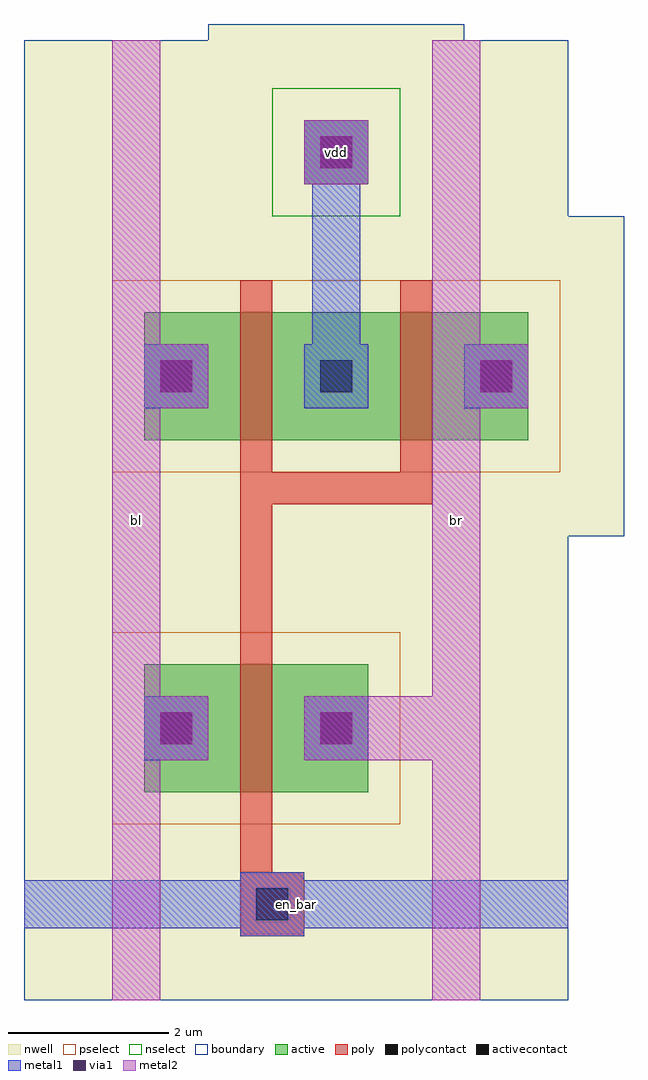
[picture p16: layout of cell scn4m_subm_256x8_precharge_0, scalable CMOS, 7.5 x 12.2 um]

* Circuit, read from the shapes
.subckt scn4m_subm_256x8_precharge_0 bl br en_bar vdd
M1 br en_bar bl vdd pfet w=1.6u l=0.4u
M2 vdd en_bar bl vdd pfet w=1.6u l=0.4u
M3 br en_bar vdd vdd pfet w=1.6u l=0.4u
.ends

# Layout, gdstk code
import gdstk
lib = gdstk.Library(unit=1e-6, precision=1e-09)
def R(c, l, rs):  # rectangles x0, y0, x1, y1
    for r in rs: c.add(gdstk.rectangle(r[:2], r[2:], *l))
nwell = (42, 0)
active = (43, 0)
pselect = (44, 0)
nselect = (45, 0)
poly = (46, 0)
polycontact = (47, 0)
activecontact = (48, 0)
metal1 = (49, 0)
via1 = (50, 0)
metal2 = (51, 0)
boundary = (63, 0)

scn4m_subm_256x8_contact = lib.new_cell('scn4m_subm_256x8_contact_12')
R(scn4m_subm_256x8_contact, nwell, [(-1.2,-1.2,2,2)])
R(scn4m_subm_256x8_contact, active, [(0,0,0.8,0.8)])
R(scn4m_subm_256x8_contact, pselect, [(-0.4,-0.4,1.2,1.2)])
R(scn4m_subm_256x8_contact, activecontact, [(0.2,0.2,0.6,0.6)])
R(scn4m_subm_256x8_contact, metal1, [(0,0,0.8,0.8)])
R(scn4m_subm_256x8_contact, boundary, [(-1.2,-1.2,2,2)])

scn4m_subm_256x8_pmos_m1 = lib.new_cell('scn4m_subm_256x8_pmos_m1_w1_600_sm1_dm1')
R(scn4m_subm_256x8_pmos_m1, nwell, [(-1.2,-1.2,4,2.8)])
R(scn4m_subm_256x8_pmos_m1, active, [(0,0,2.8,1.6)])
R(scn4m_subm_256x8_pmos_m1, pselect, [(-0.4,-0.4,3.2,2)])
R(scn4m_subm_256x8_pmos_m1, poly, [(1.2,-0.4,1.6,2), (1.2,-0.4,1.6,2)])
R(scn4m_subm_256x8_pmos_m1, metal1, [(0,0.4,0.8,1.2), (2,0.4,2.8,1.2)])
R(scn4m_subm_256x8_pmos_m1, boundary, [(-1.2,-1.2,4,2.8)])
scn4m_subm_256x8_pmos_m1.add(gdstk.Reference(scn4m_subm_256x8_contact, (0,0.4)))
scn4m_subm_256x8_pmos_m1.add(gdstk.Reference(scn4m_subm_256x8_contact, (2,0.4)))
scn4m_subm_256x8_pmos_m1.add(gdstk.Label('G', (1.4,0.8), layer=46, texttype=0))
scn4m_subm_256x8_pmos_m1.add(gdstk.Label('S', (0.4,0.8), layer=49, texttype=0))
scn4m_subm_256x8_pmos_m1.add(gdstk.Label('D', (2.4,0.8), layer=49, texttype=0))

c_scn4m_subm_256x8_contact = lib.new_cell('scn4m_subm_256x8_contact_15')
R(c_scn4m_subm_256x8_contact, poly, [(0,0,0.8,0.8)])
R(c_scn4m_subm_256x8_contact, polycontact, [(0.2,0.2,0.6,0.6)])
R(c_scn4m_subm_256x8_contact, metal1, [(0,0,0.8,0.8)])
R(c_scn4m_subm_256x8_contact, boundary, [(0,0,0.8,0.8)])

c_scn4m_subm_256x8_contact_ = lib.new_cell('scn4m_subm_256x8_contact_23')
R(c_scn4m_subm_256x8_contact_, nwell, [(-1.2,-1.2,2,2)])
R(c_scn4m_subm_256x8_contact_, active, [(0,0,0.8,0.8)])
R(c_scn4m_subm_256x8_contact_, nselect, [(-0.4,-0.4,1.2,1.2)])
R(c_scn4m_subm_256x8_contact_, activecontact, [(0.2,0.2,0.6,0.6)])
R(c_scn4m_subm_256x8_contact_, metal1, [(0,0,0.8,0.8)])
R(c_scn4m_subm_256x8_contact_, boundary, [(-1.2,-1.2,2,2)])

c_scn4m_subm_256x8_contact__ = lib.new_cell('scn4m_subm_256x8_contact_18')
R(c_scn4m_subm_256x8_contact__, metal1, [(0,0,0.8,0.8)])
R(c_scn4m_subm_256x8_contact__, via1, [(0.2,0.2,0.6,0.6)])
R(c_scn4m_subm_256x8_contact__, metal2, [(0,0,0.8,0.8)])
R(c_scn4m_subm_256x8_contact__, boundary, [(0,0,0.8,0.8)])

c_scn4m_subm_256x8_contact___ = lib.new_cell('scn4m_subm_256x8_contact_24')
R(c_scn4m_subm_256x8_contact___, metal1, [(0,0,0.8,0.8)])
R(c_scn4m_subm_256x8_contact___, via1, [(0.2,0.2,0.6,0.6)])
R(c_scn4m_subm_256x8_contact___, metal2, [(0,0,0.8,0.8)])
R(c_scn4m_subm_256x8_contact___, boundary, [(0,0,0.8,0.8)])

scn4m_subm_256x8_prechar = lib.new_cell('scn4m_subm_256x8_precharge_0')
R(scn4m_subm_256x8_prechar, nwell, [(0,0,6.8,12)])
R(scn4m_subm_256x8_prechar, poly, [(2.7,1,3.1,1.4), (2.9,1,3.1,1.4), (2.7,1.2,3.1,2.2), (2.7,4.6,3.1,6.6), (2.7,6.2,5.1,6.6)])
R(scn4m_subm_256x8_prechar, metal1, [(0,0.9,6.8,1.5), (3.6,7.8,4.2,10.6), (3.6,10.3,4.2,10.9)])
R(scn4m_subm_256x8_prechar, metal2, [(1.1,0,1.7,12), (1.1,0,1.7,12), (5.1,0,5.7,12), (5.1,0,5.7,12), (1.4,3,1.9,3.8), (3.9,3,5.4,3.8), (1.4,7.4,1.9,8.2), (5.4,7.4,5.9,8.2)])
R(scn4m_subm_256x8_prechar, boundary, [(0,0,6.8,12)])
scn4m_subm_256x8_prechar.add(gdstk.Reference(scn4m_subm_256x8_pmos_m1, (1.5,2.6)))
scn4m_subm_256x8_prechar.add(gdstk.Reference(scn4m_subm_256x8_pmos_m1, (1.5,7)))
scn4m_subm_256x8_prechar.add(gdstk.Reference(scn4m_subm_256x8_pmos_m1, (3.5,7)))
scn4m_subm_256x8_prechar.add(gdstk.Reference(c_scn4m_subm_256x8_contact, (2.7,0.8)))
scn4m_subm_256x8_prechar.add(gdstk.Reference(c_scn4m_subm_256x8_contact_, (3.5,10.2)))
scn4m_subm_256x8_prechar.add(gdstk.Reference(c_scn4m_subm_256x8_contact__, (3.5,10.2)))
scn4m_subm_256x8_prechar.add(gdstk.Reference(c_scn4m_subm_256x8_contact___, (1.5,3)))
scn4m_subm_256x8_prechar.add(gdstk.Reference(c_scn4m_subm_256x8_contact___, (3.5,3)))
scn4m_subm_256x8_prechar.add(gdstk.Reference(c_scn4m_subm_256x8_contact___, (1.5,7.4)))
scn4m_subm_256x8_prechar.add(gdstk.Reference(c_scn4m_subm_256x8_contact___, (5.5,7.4)))
scn4m_subm_256x8_prechar.add(gdstk.Label('en_bar', (3.4,1.2), layer=49, texttype=0))
scn4m_subm_256x8_prechar.add(gdstk.Label('vdd', (3.9,10.6), layer=49, texttype=0))
scn4m_subm_256x8_prechar.add(gdstk.Label('bl', (1.4,6), layer=51, texttype=0))
scn4m_subm_256x8_prechar.add(gdstk.Label('br', (5.4,6), layer=51, texttype=0))

lib.write_gds('scn4m_subm_256x8_precharge_0.gds')
